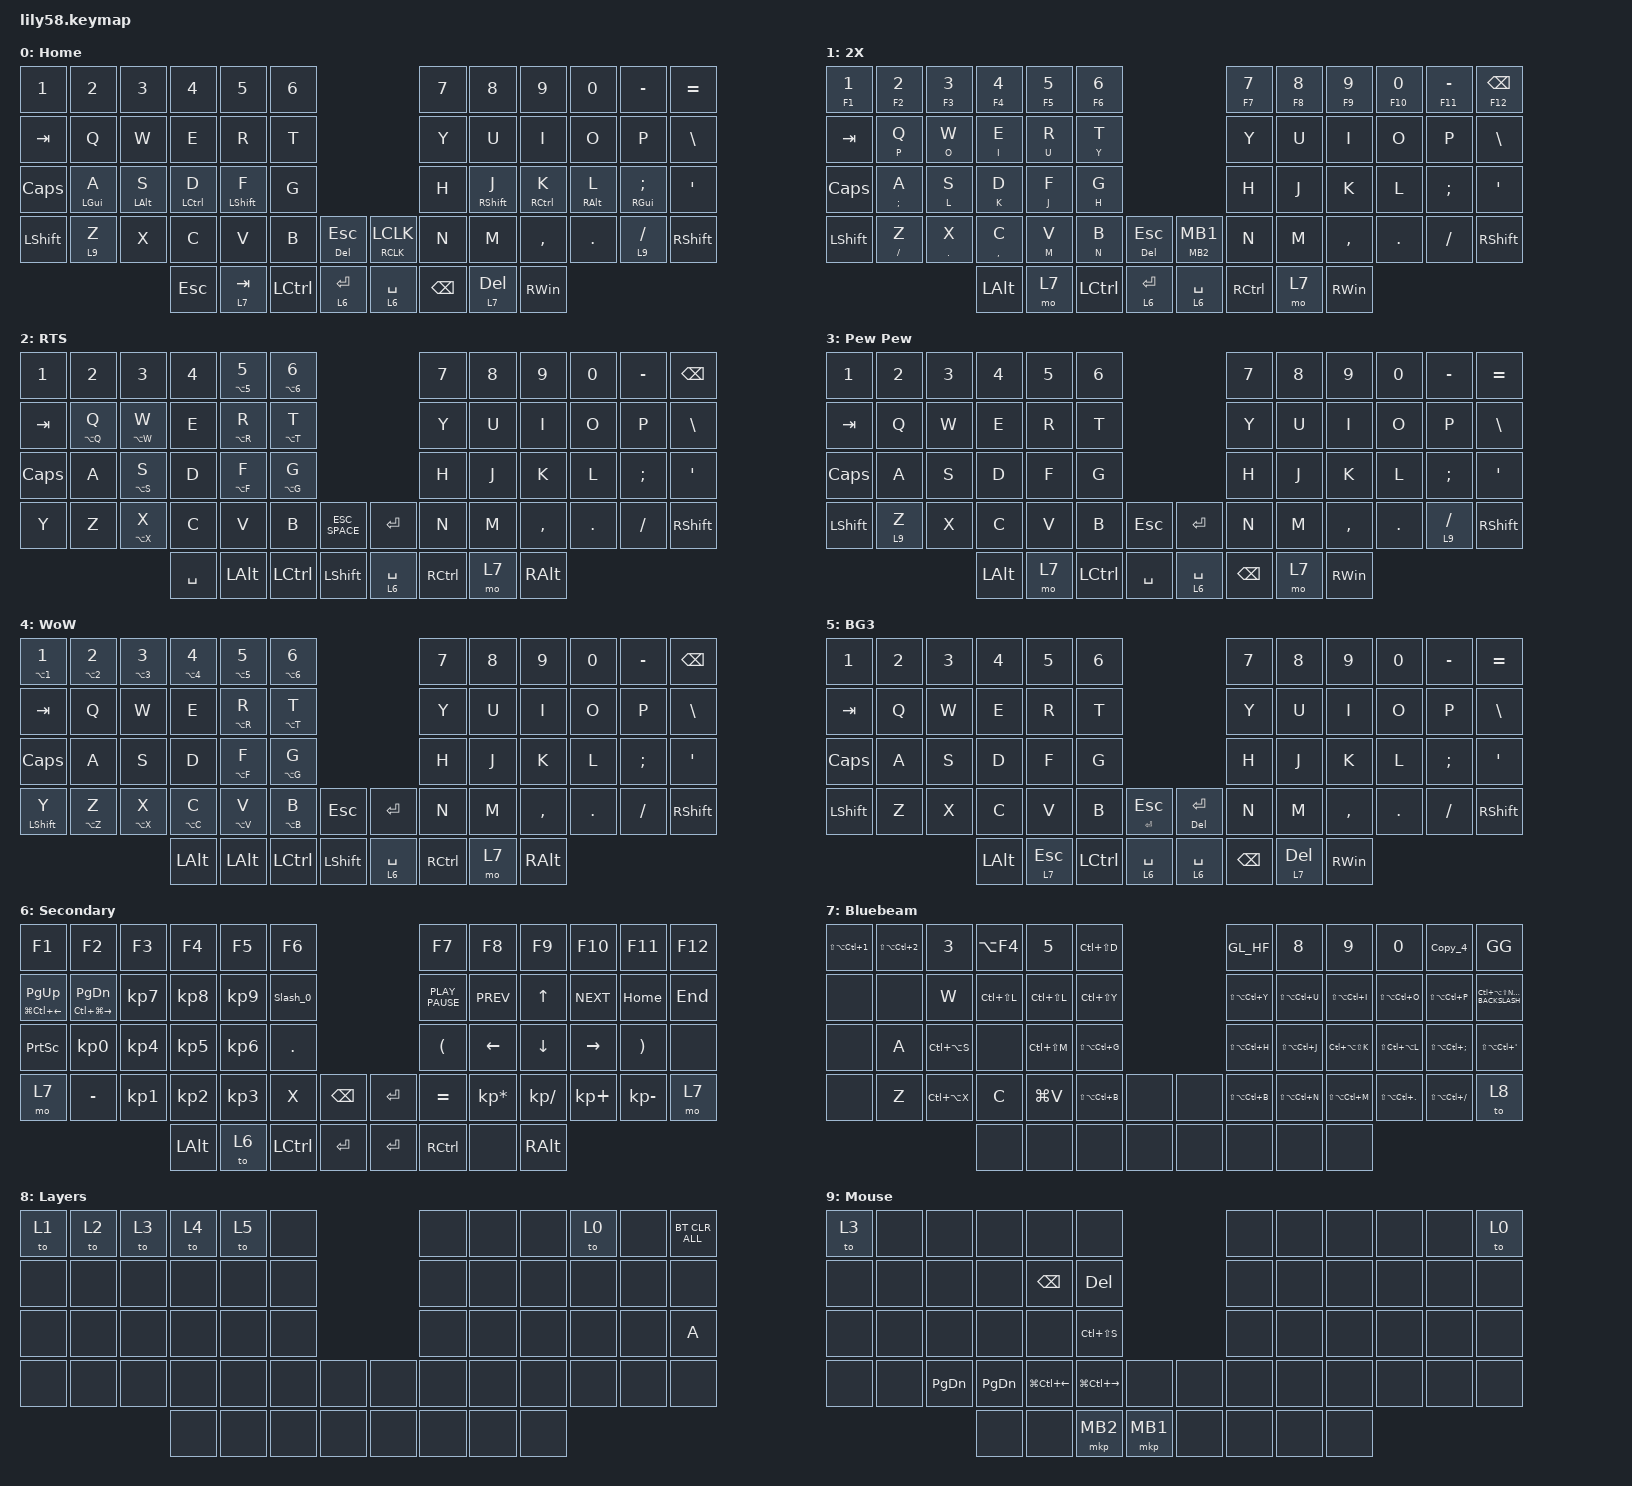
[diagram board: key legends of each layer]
/*
 * Copyright (c) 2020 The ZMK Contributors
 *
 * SPDX-License-Identifier: MIT
 */

#include <dt-bindings/zmk/mouse.h>
#include <behaviors.dtsi>
#include <dt-bindings/zmk/bt.h>
#include <dt-bindings/zmk/keys.h>
#include <dt-bindings/zmk/pointing.h>

&mt {
    flavor = "tap-preferred";
    tapping-term-ms = <200>;
};

/ {
    macros {
        Slash_0: Slash_0 {
            compatible = "zmk,behavior-macro";
            #binding-cells = <0>;
            bindings = <&kt LEFT_ALT &kp KP_NUMBER_0 &kp KP_NUMBER_2 &kp KP_NUMBER_1 &kp KP_NUMBER_6 &kt LEFT_ALT>;
            label = "SLASH_0";
        };

        GG: GG {
            compatible = "zmk,behavior-macro";
            #binding-cells = <0>;
            bindings = <&kp ENTER &kp LS(G) &kp LS(G) &kp SPACE &kp LS(W) &kp LS(P) &kp ENTER &kp F10 &kp N>;
            label = "GG";
        };

        GL_HF: GL_HF {
            compatible = "zmk,behavior-macro";
            #binding-cells = <0>;
            bindings = <&kp ENTER &kp LS(G) &kp LS(L) &kp SPACE &kp LS(H) &kp LS(F) &kp ENTER>;
            label = "GL_HF";
        };

        Copy_4: copy_paste {
            compatible = "zmk,behavior-macro";
            #binding-cells = <0>;
            bindings = <&mkp MB1 &mkp MB1 &mkp MB1 &kp BACKSPACE &kp NUMBER_4 &kp ENTER>;
            label = "COPY_PASTE";
        };

        Copy_5: Copy_5 {
            compatible = "zmk,behavior-macro";
            #binding-cells = <0>;
            bindings = <&mkp MB1 &mkp MB1 &mkp MB1 &kp BACKSPACE &kp N5 &kp ENTER>;
            label = "COPY_5";
        };
    };

    behaviors {
        F12_to6: F12_to6 {
            compatible = "zmk,behavior-tap-dance";
            label = "F12_TO6";
            #binding-cells = <0>;
            bindings = <&kp F12>, <&none>, <&to 8>, <&to 0>;

            tapping-term-ms = <200>;
        };

        ESC_SPACE: ESC_SPACE {
            compatible = "zmk,behavior-tap-dance";
            label = "ESC_SPACE";
            #binding-cells = <0>;
            bindings = <&kp ESCAPE>, <&kp SPACE>;

            tapping-term-ms = <200>;
        };

        Control_Backspace: Control_Backspace {
            compatible = "zmk,behavior-tap-dance";
            label = "CONTROL_BACKSPACE";
            #binding-cells = <0>;
            bindings = <&kp LEFT_CONTROL>, <&kp BACKSPACE>;
        };

        Shift_Space: Shift_Space {
            compatible = "zmk,behavior-tap-dance";
            label = "SHIFT_SPACE";
            #binding-cells = <0>;
            bindings = <&kp LEFT_SHIFT>, <&kp SPACE>;

            tapping-term-ms = <200>;
        };

        Left_Right: Left_Right {
            compatible = "zmk,behavior-hold-tap";
            label = "LEFT_RIGHT";
            bindings = <&mkp>, <&mkp>;

            #binding-cells = <2>;
            flavor = "tap-preferred";
            tapping-term-ms = <200>;
        };
    };

    keymap {
        compatible = "zmk,keymap";

        Base {
            // ------------------------------------------------------------------------------------------------------------
            // |  ESC  |  1  |  2  |  3   |  4   |  5   |                   |  6   |  7    |  8    |  9   |   0   |   `   |
            // |  TAB  |  Q  |  W  |  E   |  R   |  T   |                   |  Y   |  U    |  I    |  O   |   P   |   -   |
            // |  CTRL |  A  |  S  |  D   |  F   |  G   |                   |  H   |  J    |  K    |  L   |   ;   |   '   |
            // | SHIFT |  Z  |  X  |  C   |  V   |  B   |   "["  |  |  "]"  |  N   |  M    |  ,    |  .   |   /   | SHIFT |
            //                     | ALT  | GUI  | LOWER|  SPACE |  | ENTER | RAISE| BSPC  | GUI   |

            display-name = "Home";
            bindings = <
&kp NUMBER_1    &kp NUMBER_2    &kp NUMBER_3    &kp NUMBER_4        &kp N5            &kp NUMBER_6                                                  &kp N7         &kp N8             &kp N9               &kp N0           &kp MINUS                &kp EQUAL
&kp TAB         &kp Q           &kp W           &kp E               &kp R             &kp T                                                         &kp Y          &kp U              &kp I                &kp O            &kp P                    &kp BACKSLASH
&kp CLCK        &mt LEFT_GUI A  &mt LEFT_ALT S  &mt LEFT_CONTROL D  &mt LEFT_SHIFT F  &kp G                                                         &kp H          &mt RIGHT_SHIFT J  &mt RIGHT_CONTROL K  &mt RIGHT_ALT L  &mt RIGHT_GUI SEMICOLON  &kp SQT
&kp LEFT_SHIFT  &lt 9 Z         &kp X           &kp C               &kp V             &kp B             &mt DELETE ESCAPE    &Left_Right RCLK LCLK  &kp N          &kp M              &kp COMMA            &kp DOT          &lt 9 SLASH              &kp RSHFT
                                                &kp ESCAPE          &lt 7 TAB         &kp LEFT_CONTROL  &lt 6 ENTER          &lt 6 SPACE            &kp BACKSPACE  &lt 7 DEL          &kp RIGHT_WIN
            >;
        };

        Double_Stack {
            display-name = "2X";
            bindings = <
&mt F1 NUMBER_1  &mt F2 NUMBER_2  &mt F3 NUMBER_3  &mt F4 NUMBER_4  &mt F5 N5  &mt F6 NUMBER_6                                             &mt F7 N7          &mt F8 N8  &mt F9 N9      &mt F10 N0  &mt F11 MINUS  &mt F12 BACKSPACE
&kp TAB          &mt P Q          &mt O W          &mt I E          &mt U R    &mt Y T                                                     &kp Y              &kp U      &kp I          &kp O       &kp P          &kp BACKSLASH
&kp CAPS         &mt SEMICOLON A  &mt L S          &mt K D          &mt J F    &mt H G                                                     &kp H              &kp J      &kp K          &kp L       &kp SEMI       &kp SQT
&kp LEFT_SHIFT   &mt SLASH Z      &mt PERIOD X     &mt COMMA C      &mt M V    &mt N B           &mt DELETE ESCAPE    &Left_Right MB2 MB1  &kp N              &kp M      &kp COMMA      &kp DOT     &kp FSLH       &kp RSHFT
                                                   &kp LEFT_ALT     &mo 7      &kp LEFT_CONTROL  &lt 6 ENTER          &lt 6 SPACE          &kp RIGHT_CONTROL  &mo 7      &kp RIGHT_WIN
            >;
        };

        Starcraft {
            display-name = "RTS";
            bindings = <
&kp N1        &kp N2       &kp N3       &kp N4     &mt LA(N5) N5  &mt LA(N6) NUMBER_6                                 &kp N7             &kp N8  &kp N9         &kp N0   &kp MINUS  &kp BACKSPACE
&kp TAB       &mt LA(Q) Q  &mt LA(W) W  &kp E      &mt LA(R) R    &mt LA(T) T                                         &kp Y              &kp U   &kp I          &kp O    &kp P      &kp BACKSLASH
&kp CAPSLOCK  &kp A        &mt LA(S) S  &kp D      &mt LA(F) F    &mt LA(G) G                                         &kp H              &kp J   &kp K          &kp L    &kp SEMI   &kp SQT
&kp Y         &kp Z        &mt LA(X) X  &kp C      &kp V          &kp B                &ESC_SPACE        &kp ENTER    &kp N              &kp M   &kp COMMA      &kp DOT  &kp FSLH   &kp RSHFT
                                        &kp SPACE  &kp LEFT_ALT   &kp LEFT_CONTROL     &kp LEFT_SHIFT    &lt 6 SPACE  &kp RIGHT_CONTROL  &mo 7   &kp RIGHT_ALT
            >;
        };

        Shooters {
            display-name = "Pew Pew";
            bindings = <
&kp NUMBER_1    &kp NUMBER_2  &kp NUMBER_3  &kp NUMBER_4  &kp N5  &kp NUMBER_6                                 &kp N7         &kp N8  &kp N9         &kp N0   &kp MINUS    &kp EQUAL
&kp TAB         &kp Q         &kp W         &kp E         &kp R   &kp T                                        &kp Y          &kp U   &kp I          &kp O    &kp P        &kp BACKSLASH
&kp CLCK        &kp A         &kp S         &kp D         &kp F   &kp G                                        &kp H          &kp J   &kp K          &kp L    &kp SEMI     &kp SQT
&kp LEFT_SHIFT  &lt 9 Z       &kp X         &kp C         &kp V   &kp B             &kp ESCAPE    &kp ENTER    &kp N          &kp M   &kp COMMA      &kp DOT  &lt 9 SLASH  &kp RSHFT
                                            &kp LEFT_ALT  &mo 7   &kp LEFT_CONTROL  &kp SPACE     &lt 6 SPACE  &kp BACKSPACE  &mo 7   &kp RIGHT_WIN
            >;
        };

        World {
            display-name = "WoW";
            bindings = <
&mt LA(N1) NUMBER_1  &mt LA(N2) NUMBER_2  &mt LA(N3) NUMBER_3  &mt LA(N4) NUMBER_4  &mt LA(N5) N5  &mt LA(N6) NUMBER_6                                 &kp N7             &kp N8  &kp N9         &kp N0   &kp MINUS  &kp BACKSPACE
&kp TAB              &kp Q                &kp W                &kp E                &mt LA(R) R    &mt LA(T) T                                         &kp Y              &kp U   &kp I          &kp O    &kp P      &kp BACKSLASH
&kp CAPSLOCK         &kp A                &kp S                &kp D                &mt LA(F) F    &mt LA(G) G                                         &kp H              &kp J   &kp K          &kp L    &kp SEMI   &kp SQT
&mt LEFT_SHIFT Y     &mt LA(Z) Z          &mt LA(X) X          &mt LA(C) C          &mt LA(V) V    &mt LA(B) B          &kp ESCAPE        &kp ENTER    &kp N              &kp M   &kp COMMA      &kp DOT  &kp FSLH   &kp RSHFT
                                                               &kp LEFT_ALT         &kp LEFT_ALT   &kp LEFT_CONTROL     &kp LEFT_SHIFT    &lt 6 SPACE  &kp RIGHT_CONTROL  &mo 7   &kp RIGHT_ALT
            >;
        };

        BG3 {
            display-name = "BG3";
            bindings = <
&kp NUMBER_1    &kp NUMBER_2  &kp NUMBER_3  &kp NUMBER_4  &kp N5        &kp NUMBER_6                                            &kp N7         &kp N8     &kp N9         &kp N0   &kp MINUS  &kp EQUAL
&kp TAB         &kp Q         &kp W         &kp E         &kp R         &kp T                                                   &kp Y          &kp U      &kp I          &kp O    &kp P      &kp BACKSLASH
&kp CLCK        &kp A         &kp S         &kp D         &kp F         &kp G                                                   &kp H          &kp J      &kp K          &kp L    &kp SEMI   &kp SQT
&kp LEFT_SHIFT  &kp Z         &kp X         &kp C         &kp V         &kp B             &mt ENTER ESCAPE    &mt DELETE ENTER  &kp N          &kp M      &kp COMMA      &kp DOT  &kp FSLH   &kp RSHFT
                                            &kp LEFT_ALT  &lt 7 ESCAPE  &kp LEFT_CONTROL  &lt 6 SPACE         &lt 6 SPACE       &kp BACKSPACE  &lt 7 DEL  &kp RIGHT_WIN
            >;
        };

        Secondary {
            bindings = <
&kp F1                    &kp F2                       &kp F3           &kp F4           &kp F5           &kp F6                                        &kp F7                &kp F8           &kp F9          &kp F10      &kp F11                &kp F12
&mt LG(LC(LEFT)) PAGE_UP  &mt LC(LG(RIGHT)) PAGE_DOWN  &kp KP_NUMBER_7  &kp KP_NUMBER_8  &kp KP_NUMBER_9  &Slash_0                                      &kp K_PLAY_PAUSE      &kp K_PREV       &kp UP_ARROW    &kp K_NEXT   &kp HOME               &kp END
&kp PRINTSCREEN           &kp KP_NUMBER_0              &kp KP_NUMBER_4  &kp KP_NUMBER_5  &kp KP_NUMBER_6  &kp PERIOD                                    &kp LEFT_PARENTHESIS  &kp LEFT         &kp DOWN_ARROW  &kp RIGHT    &kp RIGHT_PARENTHESIS  &none
&mo 7                     &kp MINUS                    &kp KP_NUMBER_1  &kp KP_NUMBER_2  &kp KP_NUMBER_3  &kp X             &kp BACKSPACE    &kp ENTER  &kp EQUAL             &kp KP_MULTIPLY  &kp KP_DIVIDE   &kp KP_PLUS  &kp KP_SUBTRACT        &mo 7
                                                                        &kp LEFT_ALT     &to 6            &kp LEFT_CONTROL  &kp ENTER        &kp ENTER  &kp RIGHT_CONTROL     &none            &kp RIGHT_ALT
            >;
        };

        Bluebeam {
            bindings = <
&kp LS(LA(LC(N1)))  &kp LS(LA(LC(N2)))  &kp N3         &kp LA(F4)     &kp N5         &kp LC(LS(D))                      &GL_HF             &kp N8             &kp N9             &kp N0                  &Copy_4                    &GG
&none               &none               &kp W          &kp LC(LS(L))  &kp LC(LS(L))  &kp LC(LS(Y))                      &kp LS(LA(LC(Y)))  &kp LS(LA(LC(U)))  &kp LS(LA(LC(I)))  &kp LS(LA(LC(O)))       &kp LS(LA(LC(P)))          &kp LC(LA(LS(NON_US_BACKSLASH)))
&none               &kp A               &kp LC(LA(S))  &none          &kp LC(LS(M))  &kp LS(LA(LC(G)))                  &kp LS(LA(LC(H)))  &kp LS(LA(LC(J)))  &kp LC(LA(LS(K)))  &kp LS(LC(LA(L)))       &kp LS(LA(LC(SEMICOLON)))  &kp LS(LA(LC(SQT)))
&none               &kp Z               &kp LC(LA(X))  &kp C          &kp LG(V)      &kp LS(LA(LC(B)))  &none    &none  &kp LS(LA(LC(B)))  &kp LS(LA(LC(N)))  &kp LS(LA(LC(M)))  &kp LS(LA(LC(PERIOD)))  &kp LS(LA(LC(SLASH)))      &to 8
                                                       &none          &none          &none              &none    &none  &none              &none              &none
            >;
        };

        Layers {
            bindings = <
&to 1  &to 2  &to 3  &to 4  &to 5  &none                  &none  &none  &none  &to 0  &none  &bt BT_CLR_ALL
&none  &none  &none  &none  &none  &none                  &none  &none  &none  &none  &none  &none
&none  &none  &none  &none  &none  &none                  &none  &none  &none  &none  &none  &kp A
&none  &none  &none  &none  &none  &none  &none    &none  &none  &none  &none  &none  &none  &none
                     &none  &none  &none  &none    &none  &none  &none  &none
            >;
        };

        Mouse {
            bindings = <
&to 3  &none  &none          &none          &none             &none                                       &none  &none  &none  &none  &none  &to 0
&none  &none  &none          &none          &kp BACKSPACE     &kp DELETE                                  &none  &none  &none  &none  &none  &none
&none  &none  &none          &none          &none             &kp LC(LS(S))                               &none  &none  &none  &none  &none  &none
&none  &none  &kp PAGE_DOWN  &kp PAGE_DOWN  &kp LG(LC(LEFT))  &kp LG(LC(RIGHT_ARROW))  &none       &none  &none  &none  &none  &none  &none  &none
                             &none          &none             &mkp MB2                 &mkp MB1    &none  &none  &none  &none
            >;
        };
    };

    conditional_layers { compatible = "zmk,conditional-layers"; };
};
